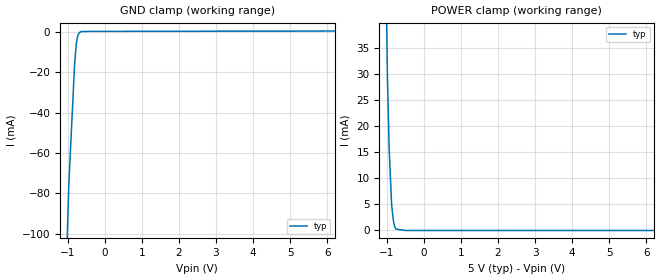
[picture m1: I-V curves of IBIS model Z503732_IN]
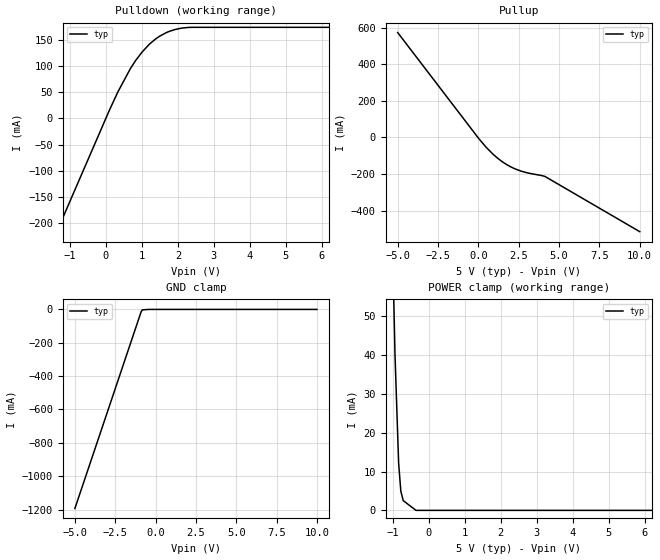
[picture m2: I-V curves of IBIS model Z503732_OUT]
| YOU ARE ONLY AUTHORIZED TO USE THIS SOFTWARE
| ACCORDING TO LICENSOR'S LICENSE RESTRICTIONS.
[IBIS Ver] 3.1
[File Name] mc74ac14n_5.ibs
[File Rev] 2.0
[Source] Measured and created by ICX Technology
[Date] Friday 7/14/00 9:07:58 AM
[Copyright]
| (C) COPYRIGHT 1993-2000
| MENTOR GRAPHICS CORPORATION
| ICX STANDARD LIBRARY, ICX PROJECT MODELING,
| ICX CUSTOM MODELING, ICX VENDOR MODEL
| ALL RIGHTS RESERVED.
| THE FOLLOWING ARE TRADEMARKS OR SERVICE MARKS OF
| MENTOR GRAPHICS CORPORATION:ICX (R), ICX STANDARD
| LIBRARY(R), ICX PROJECT MODELING(R), ICX CUSTOM
| MODELING(R), qualityIBIS(TM), MODELVIEWER(TM),
| AND MODELEDITOR(TM)
| ALL COPIES OF SOFTWARE, INCLUDING BUT NOT LIMITED TO
| ANY MODIFICATIONS, ENHANCEMENTS OR DERIVATIVE WORKS,
| MUST CONTAIN ALL MENTOR GRAPHICS CORPORATION'S
| NOTICES AND LEGENDS, INCLUDING THOSE EMBEDDED IN
| SOFTWARE AND THOSE AFFIXED TO SOFTWARE MEDIUM
| AND CONTAINER, AS RECEIVED FROM MENTOR GRAPHICS
| CORPORATION.
|  ZAP Model Builder 2.7
[Component] MC74AC14N_5
[Manufacturer] OnSemiconductor
[Package]
| variable   typ   min   max
R_pkg  .21ohms NA NA
L_pkg  4.543nH NA NA
C_pkg  1.059pF NA NA
[Pin] signal_name  model_name  R_pin  L_pin C_pin
1 A Z503732_IN .22 6.757n 1.432p
2 Y Z503732_OUT .212 4.757n 1.142p
3 A Z503732_IN .204 3.257n .852p
4 Y Z503732_OUT .196 2.257n .562p
5 A Z503732_IN .204 3.257n .852p
6 Y Z503732_OUT .212 4.757n 1.142p
7 GND GND .22 6.757n 1.432p
8 Y Z503732_OUT .22 6.757n 1.432p
9 A Z503732_IN .212 4.757n 1.142p
10 Y Z503732_OUT .204 3.257n .852p
11 A Z503732_IN .196 2.257n .562p
12 Y Z503732_OUT .204 3.257n .852p
13 A Z503732_IN .212 4.757n 1.142p
14 VCC POWER .22 6.757n 1.432p
| Models and submodels in the file (2): Z503732_IN (Input), Z503732_OUT (Output)
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| (C) COPYRIGHT 1993-2000
| MENTOR GRAPHICS CORPORATION
| ICX STANDARD LIBRARY, ICX PROJECT MODELING,
| ICX CUSTOM MODELING, ICX VENDOR MODEL
| ALL RIGHTS RESERVED.
| THE FOLLOWING ARE TRADEMARKS OR SERVICE MARKS OF
| MENTOR GRAPHICS CORPORATION:ICX (R), ICX STANDARD
| LIBRARY(R), ICX PROJECT MODELING(R), ICX CUSTOM
| MODELING(R), qualityIBIS(TM), MODELVIEWER(TM),
| AND MODELEDITOR(TM)
| ALL COPIES OF SOFTWARE, INCLUDING BUT NOT LIMITED TO
| ANY MODIFICATIONS, ENHANCEMENTS OR DERIVATIVE WORKS,
| MUST CONTAIN ALL MENTOR GRAPHICS CORPORATION'S
| NOTICES AND LEGENDS, INCLUDING THOSE EMBEDDED IN
| SOFTWARE AND THOSE AFFIXED TO SOFTWARE MEDIUM
| AND CONTAINER, AS RECEIVED FROM MENTOR GRAPHICS
| CORPORATION.
| Model Application Version 1.89 2/18/99.
[Model] Z503732_IN
Model_type Input
Vinl = 1.500V
Vinh = 3.500V
C_comp 4.000pF NA NA
| variable typ   min   max
[Voltage Range] 5.000V NA NA
[GND Clamp Reference] 0.000V NA NA
[POWER Clamp Reference] 5.000V NA NA
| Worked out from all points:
|   GND clamp passes 1 mA (typ) near -0.70 V on its own axis
|   POWER clamp passes 1 mA (typ) near -0.80 V on its own axis
[GND Clamp]
-5V       -2.606A    NA         NA
-966.8mV  -75.7mA    NA         NA
-810.6mV  -16.28mA   NA         NA
-764.6mV  -5.99mA    NA         NA
-730mV    -2.244mA   NA         NA
-687.7mV  -562.9uA   NA         NA
-648.7mV  -10.16uA   NA         NA
10V       597.6uA    NA         NA
[POWER Clamp]
-5V       3.394A     NA         NA
-1.26V    198.7mA    NA         NA
-1.113V   94.15mA    NA         NA
-982mV    29.53mA    NA         NA
-935mV    15.63mA    NA         NA
-869mV    4.989mA    NA         NA
-830mV    2.316mA    NA         NA
-793mV    849.5uA    NA         NA
-752mV    270.4uA    NA         NA
-501.3mV  0A         NA         NA
10V       0A         NA         NA
| (C) COPYRIGHT 1993-2000
| MENTOR GRAPHICS CORPORATION
| ICX STANDARD LIBRARY, ICX PROJECT MODELING,
| ICX CUSTOM MODELING, ICX VENDOR MODEL
| ALL RIGHTS RESERVED.
| THE FOLLOWING ARE TRADEMARKS OR SERVICE MARKS OF
| MENTOR GRAPHICS CORPORATION:ICX (R), ICX STANDARD
| LIBRARY(R), ICX PROJECT MODELING(R), ICX CUSTOM
| MODELING(R), qualityIBIS(TM), MODELVIEWER(TM),
| AND MODELEDITOR(TM)
| ALL COPIES OF SOFTWARE, INCLUDING BUT NOT LIMITED TO
| ANY MODIFICATIONS, ENHANCEMENTS OR DERIVATIVE WORKS,
| MUST CONTAIN ALL MENTOR GRAPHICS CORPORATION'S
| NOTICES AND LEGENDS, INCLUDING THOSE EMBEDDED IN
| SOFTWARE AND THOSE AFFIXED TO SOFTWARE MEDIUM
| AND CONTAINER, AS RECEIVED FROM MENTOR GRAPHICS
| CORPORATION.
| Model Application Version 1.89 2/18/99.
[Model] Z503732_OUT
Model_type Output
Vref=0.000V
Rref=500.0ohms
Cref=50.00pF
Vmeas=2.500V
C_comp 8.000pF NA NA
| variable typ   min   max
[Voltage Range] 5.000V NA NA
[POWER Clamp Reference] 5.000V NA NA
[Pullup Reference] 5.000V NA NA
[Pulldown Reference] 0.000V NA NA
[GND Clamp Reference] 0.000V NA NA
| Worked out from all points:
|   slope of the pulldown table from 0 to 0.75 V, typ, clamps not added: 7.36 ohm
|   slope of the pullup table from 0 to 0.75 V, typ, clamps not added: 10.1 ohm
[GND Clamp]
-5V       -1.194A    NA         NA
-898.4mV  -15.41mA   NA         NA
-825.8mV  -2.802mA   NA         NA
-412.9mV  0A         NA         NA
10V       0A         NA         NA
[Pulldown]
-5V       -790.9mA   NA         NA
89.57mV   14.69mA    NA         NA
333.5mV   50.78mA    NA         NA
683.7mV   95.41mA    NA         NA
824.7mV   110.3mA    NA         NA
1.006V    126.6mA    NA         NA
1.211V    141.6mA    NA         NA
1.38V     151.3mA    NA         NA
1.782V    166.3mA    NA         NA
2.061V    171.4mA    NA         NA
2.412V    173.5mA    NA         NA
10V       173.5mA    NA         NA
[Pullup]
-5V       573.8mA    NA         NA
34mV      -6.807mA   NA         NA
503mV     -55.28mA   NA         NA
1.178V    -112mA     NA         NA
1.818V    -151.4mA   NA         NA
2.431V    -177.1mA   NA         NA
2.931V    -191mA     NA         NA
4.13V     -213.2mA   NA         NA
10V       -514.9mA   NA         NA
[POWER Clamp]
-5V       2.273A     NA         NA
-1.015V   72.31mA    NA         NA
-938mV    40.2mA     NA         NA
-837mV    12.24mA    NA         NA
-776mV    4.94mA     NA         NA
-708mV    2.504mA    NA         NA
-354mV    0A         NA         NA
10V       0A         NA         NA
[Ramp]
| variable typ min max
dV/dt_r 2.964/362.8p NA NA
dV/dt_f 2.964/488.9p NA NA
R_load = 500.0Ohms
